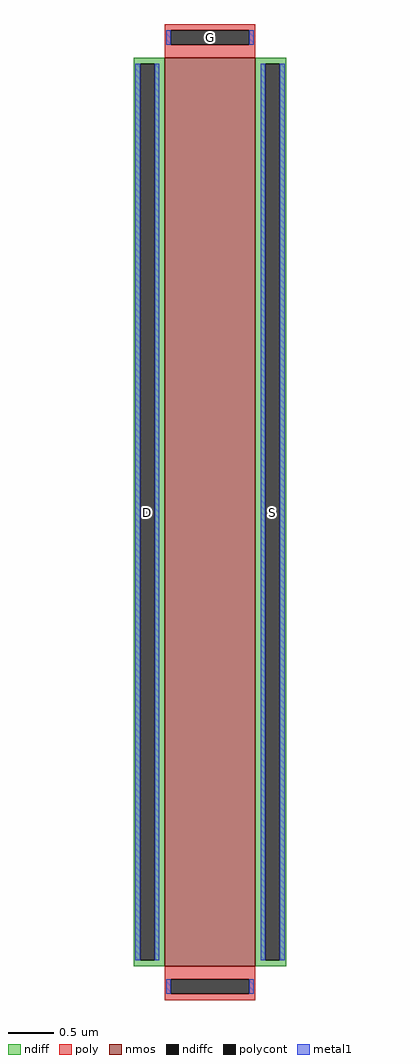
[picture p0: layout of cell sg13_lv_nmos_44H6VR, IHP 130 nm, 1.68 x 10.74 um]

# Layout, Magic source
magic
tech ihp-sg13g2
<< nmos >>
rect -50 -500 50 500
<< ndiff >>
rect -84 493 -50 500
rect -84 -493 -77 493
rect -61 -493 -50 493
rect -84 -500 -50 -493
rect 50 493 84 500
rect 50 -493 61 493
rect 77 -493 84 493
rect 50 -500 84 -493
<< ndiffc >>
rect -77 -493 -61 493
rect 61 -493 77 493
<< poly >>
rect -50 530 50 537
rect -50 514 -43 530
rect 43 514 50 530
rect -50 500 50 514
rect -50 -514 50 -500
rect -50 -530 -43 -514
rect 43 -530 50 -514
rect -50 -537 50 -530
<< polycont >>
rect -43 514 43 530
rect -43 -530 43 -514
<< metal1 >>
rect -48 514 -43 530
rect 43 514 48 530
rect -82 -493 -77 493
rect -61 -493 -56 493
rect 56 -493 61 493
rect 77 -493 82 493
rect -48 -530 -43 -514
rect 43 -530 48 -514
<< labels >>
rlabel ndiffc -69 0 -69 0 0 D
port 1 nsew
rlabel ndiffc 69 0 69 0 0 S
port 2 nsew
rlabel polycont 0 522 0 522 0 G
port 3 nsew
<< properties >>
string gencell sg13_lv_nmos
string library sg13g2
string parameters w 10 l 1 m 1 nf 1 diffcov 100 polycov 100 guard 0 glc 1 grc 0 gtc 0 gbc 0 tbcov 100 rlcov 100 topc 1 botc 1 poverlap 0 doverlap 1 lmin 0.13 wmin 0.15 class mosfet compatible {sg13_lv_nmos sg13_hv_nmos} full_metal 0 conn_gates 0 gate_ring 0 doports 1 viasrc 0 viadrn 0 viagate 0 ccols 1 viagb 0 viagr 0 viagl 0 viagt 0
<< end >>
